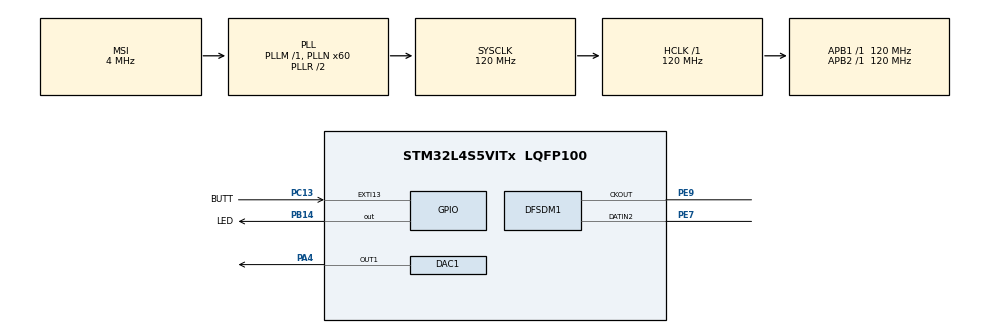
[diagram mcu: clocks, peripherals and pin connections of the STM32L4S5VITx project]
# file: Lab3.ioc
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DAC1.DAC_Trigger-DAC_OUT1=DAC_TRIGGER_T2_TRGO
DFSDM1.Divider=48
DFSDM1.DmaMode_reg_FIL0=ENABLE
DFSDM1.FastMode_reg_FIL0=ENABLE
DFSDM1.Filter_regChannel_FIL0=DFSDM_CHANNEL_2
DFSDM1.Fosr_FIL0=100
DFSDM1.SincOrder_FIL0=DFSDM_FILTER_SINC3_ORDER
Dma.DAC1_CH1.0.Direction=DMA_MEMORY_TO_PERIPH
Dma.DAC1_CH1.0.EventEnable=DISABLE
Dma.DAC1_CH1.0.Instance=DMA1_Channel1
Dma.DAC1_CH1.0.MemDataAlignment=DMA_MDATAALIGN_WORD
Dma.DAC1_CH1.0.MemInc=DMA_MINC_ENABLE
Dma.DAC1_CH1.0.Mode=DMA_CIRCULAR
Dma.DAC1_CH1.0.PeriphDataAlignment=DMA_PDATAALIGN_WORD
Dma.DAC1_CH1.0.PeriphInc=DMA_PINC_DISABLE
Dma.DAC1_CH1.0.Polarity=HAL_DMAMUX_REQUEST_GEN_RISING
Dma.DAC1_CH1.0.Priority=DMA_PRIORITY_HIGH
Dma.DAC1_CH1.0.RequestNumber=1
Dma.DAC1_CH1.0.SignalID=NONE
Dma.DAC1_CH1.0.SyncEnable=DISABLE
Dma.DAC1_CH1.0.SyncPolarity=HAL_DMAMUX_SYNC_NO_EVENT
Dma.DAC1_CH1.0.SyncRequestNumber=1
Dma.DAC1_CH1.0.SyncSignalID=NONE
Dma.DFSDM1_FLT0.1.Direction=DMA_PERIPH_TO_MEMORY
Dma.DFSDM1_FLT0.1.EventEnable=DISABLE
Dma.DFSDM1_FLT0.1.Instance=DMA1_Channel2
Dma.DFSDM1_FLT0.1.MemDataAlignment=DMA_MDATAALIGN_WORD
Dma.DFSDM1_FLT0.1.MemInc=DMA_MINC_ENABLE
Dma.DFSDM1_FLT0.1.Mode=DMA_NORMAL
Dma.DFSDM1_FLT0.1.PeriphDataAlignment=DMA_PDATAALIGN_WORD
Dma.DFSDM1_FLT0.1.PeriphInc=DMA_PINC_DISABLE
Dma.DFSDM1_FLT0.1.Polarity=HAL_DMAMUX_REQUEST_GEN_RISING
Dma.DFSDM1_FLT0.1.Priority=DMA_PRIORITY_LOW
Dma.DFSDM1_FLT0.1.RequestNumber=1
Dma.DFSDM1_FLT0.1.SignalID=NONE
Dma.DFSDM1_FLT0.1.SyncEnable=DISABLE
Dma.DFSDM1_FLT0.1.SyncPolarity=HAL_DMAMUX_SYNC_NO_EVENT
Dma.DFSDM1_FLT0.1.SyncRequestNumber=1
Dma.DFSDM1_FLT0.1.SyncSignalID=NONE
Dma.Request0=DAC1_CH1
Dma.Request1=DFSDM1_FLT0
Mcu.Family=STM32L4
Mcu.Name=STM32L4S5VITx
Mcu.Package=LQFP100
NVIC.DFSDM1_FLT0_IRQn=true\:0\:0\:false\:false\:true\:true\:true\:true
NVIC.DMA1_Channel1_IRQn=true\:0\:0\:false\:false\:true\:false\:true\:true
NVIC.DMA1_Channel2_IRQn=true\:0\:0\:false\:false\:true\:false\:true\:true
NVIC.EXTI15_10_IRQn=true\:0\:0\:false\:false\:true\:true\:true\:true
NVIC.PriorityGroup=NVIC_PRIORITYGROUP_4
NVIC.TIM2_IRQn=true\:0\:0\:false\:false\:true\:true\:true\:true
PA13\ (JTMS/SWDIO).Signal=SYS_JTMS-SWDIO
PA4.Signal=COMP_DAC11_group
PB14.GPIO_Label=LED
PB14.Signal=GPIO_Output
PB3\ (JTDO/TRACESWO).Signal=SYS_JTDO-SWO
PC13.GPIO_Label=BUTT
PC13.Signal=GPXTI13
PE7.Signal=S_DATAIN2DFSDM1
PE9.Signal=S_CKOUTDFSDM1
ProjectManager.HeapSize=0x200
ProjectManager.StackSize=0x400
ProjectManager.TargetToolchain=STM32CubeIDE
RCC.ADCFreq_Value=48000000
RCC.AHBFreq_Value=120000000
RCC.APB1Freq_Value=120000000
RCC.APB1TimFreq_Value=120000000
RCC.APB2Freq_Value=120000000
RCC.APB2TimFreq_Value=120000000
RCC.CortexFreq_Value=120000000
RCC.DFSDMCLockSelection=RCC_DFSDM1CLKSOURCE_SYSCLK
RCC.HCLKFreq_Value=120000000
RCC.HSE_VALUE=8000000
RCC.HSI48_VALUE=48000000
RCC.HSI_VALUE=16000000
RCC.LSE_VALUE=32768
RCC.MSI_VALUE=4000000
RCC.PLLN=60
RCC.PLLSAI1N=24
RCC.SYSCLKFreq_VALUE=120000000
RCC.SYSCLKSource=RCC_SYSCLKSOURCE_PLLCLK
RCC.USBFreq_Value=48000000
RCC.VCOOutputFreq_Value=240000000
SH.COMP_DAC11_group.0=DAC1_OUT1,DAC_OUT1
SH.S_CKOUTDFSDM1.0=DFSDM1_CKOUT,PDM_SPI_input_from_ch2_and_internal_clock
SH.S_CKOUTDFSDM1.1=DFSDM1_CKOUT,CKOUT
SH.S_DATAIN2DFSDM1.0=DFSDM1_DATIN2,PDM_SPI_input_from_ch2_and_internal_clock
TIM2.Period=4800
TIM2.TIM_MasterOutputTrigger=TIM_TRGO_UPDATE
VP_TIM2_VS_ClockSourceINT.Mode=Internal
board=B-L4S5I-IOT01A

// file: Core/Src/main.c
/* USER CODE BEGIN Header */
/**
  ******************************************************************************
  * @file           : main.c
  * @brief          : Main program body
  ******************************************************************************
  * @attention
  *
  * Copyright (c) 2023 STMicroelectronics.
  * All rights reserved.
  *
  * This software is licensed under terms that can be found in the LICENSE file
  * in the root directory of this software component.
  * If no LICENSE file comes with this software, it is provided AS-IS.
  *
  ******************************************************************************
  */
/* USER CODE END Header */
#include "main.h"

/* USER CODE BEGIN Includes */
#include <math.h>
/* USER CODE END Includes */

/* USER CODE BEGIN PD */
void play_Sounds();
/* USER CODE END PD */

DAC_HandleTypeDef hdac1;
DMA_HandleTypeDef hdma_dac1_ch1;

DFSDM_Filter_HandleTypeDef hdfsdm1_filter0;
DFSDM_Channel_HandleTypeDef hdfsdm1_channel2;
DMA_HandleTypeDef hdma_dfsdm1_flt0;

TIM_HandleTypeDef htim2;

/* USER CODE BEGIN PV */

float sound1[20];
float sound2[20];
float sound3[20];
float sound4[20];
float sound5[20];
float sound6[20];

int globalIndex;

#define AUDIO_REC 64000
#define WAIT_TIME 100

int32_t recBuf[AUDIO_REC];
uint32_t playBuf[AUDIO_REC];

uint8_t dmaRecBuffCplt = 0;
uint8_t isRecording = 0;
uint8_t hasPlayed = 0;

int32_t maxVal = -2147483648;
int32_t minVal = 2147483647;

//___________________________ PART 4 _____________________________
uint8_t counter = 0;
uint8_t playSong = 0;
uint8_t hasRecording = 0;

/* USER CODE END PV */

void SystemClock_Config(void);
static void MX_GPIO_Init(void);
static void MX_DMA_Init(void);
static void MX_DAC1_Init(void);
static void MX_TIM2_Init(void);
static void MX_DFSDM1_Init(void);

/* USER CODE BEGIN 0 */

/****
 * Interrupt function
 */
// PART 3 BUTTON PRESS INTERRUPT
//void HAL_GPIO_EXTI_Callback(uint16_t GPIO_Pin){
//	if(hasPlayed == 1){
//		HAL_DAC_Stop_DMA(&hdac1, DAC_CHANNEL_1);
//	}
//	HAL_DFSDM_FilterRegularStart_DMA(&hdfsdm1_filter0, recBuf, AUDIO_REC);
//	isRecording = 1;
//	hasPlayed = 1;
//}

// PART 1 TIMER INTERRUPT PLAYS THE NEXT SOUND
//void HAL_TIM_PeriodElapsedCallback(TIM_HandleTypeDef* htim){
//	HAL_DAC_SetValue(&hdac1, DAC_CHANNEL_1, DAC_ALIGN_12B_R, 0.7 * sound1[globalIndex]);
//
//	globalIndex++;
//	if (globalIndex == 20) globalIndex = 0;
//}

// PART 3 BUFFER IS FULL INTERRUPT
//void HAL_DFSDM_FilterRegConvCpltCallback(DFSDM_Filter_HandleTypeDef *hdfsdm_filter){
//	dmaRecBuffCplt = 1;
//	isRecording = 0;
//}

//______________________________________ PART 4 ______________________________________________

void HAL_GPIO_EXTI_Callback(uint16_t GPIO_Pin){
	if(counter % 2 == 0){
		if(counter > 1) HAL_DFSDM_FilterRegularStop_DMA(&hdfsdm1_filter0);
		HAL_DFSDM_FilterRegularStart_DMA(&hdfsdm1_filter0, recBuf, AUDIO_REC);
		isRecording = 1;
		hasRecording = 1;
	}

	else {
		playSong = 1;
	}
	counter++;
}

void HAL_DFSDM_FilterRegConvCpltCallback(DFSDM_Filter_HandleTypeDef *hdfsdm_filter){
	dmaRecBuffCplt = 1;
	isRecording = 0;
}

void make_Sounds(){
	float curVal = 0.0;
	float trigVal;
	for(int i = 0; i < 20; i++){
		trigVal = 2047.5 * sin(curVal) + 2047.5;
	  	sound1[i] = 0.8*trigVal;
	  	curVal += 0.314159;
	}

	curVal = 0.0;
	trigVal = 0.0;
	for(int i = 0; i < 18; i++){
		trigVal = 2047.5 * sin(curVal) + 2047.5;
		sound2[i] = 0.8*trigVal;
		curVal += 0.349065;
	}

	curVal = 0.0;
	trigVal = 0.0;
	for(int i = 0; i < 16; i++){
		trigVal = 2047.5 * sin(curVal) + 2047.5;
		sound3[i] = 0.8*trigVal;
		curVal += 0.392698;
	}

	curVal = 0.0;
	trigVal = 0.0;
	for(int i = 0; i < 14; i++){
		trigVal = 2047.5 * sin(curVal) + 2047.5;
		sound4[i] = 0.8*trigVal;
		curVal += 0.448798;
	}

	curVal = 0.0;
	trigVal = 0.0;
	for(int i = 0; i < 12; i++){
		trigVal = 2047.5 * sin(curVal) + 2047.5;
		sound5[i] = 0.8*trigVal;
		curVal += 0.523598;
	}

	curVal = 0.0;
	trigVal = 0.0;
	for(int i = 0; i < 10; i++){
		trigVal = 2047.5 * sin(curVal) + 2047.5;
		sound6[i] = trigVal;
		curVal += 0.628318;
	}
}

void play_Sounds(){
	HAL_DAC_Start_DMA(&hdac1, DAC_CHANNEL_1, &sound1, 20, DAC_ALIGN_12B_R);
	HAL_Delay(1000);
	HAL_DAC_Stop_DMA(&hdac1, DAC_CHANNEL_1);

	HAL_DAC_Start_DMA(&hdac1, DAC_CHANNEL_1, &sound2, 18, DAC_ALIGN_12B_R);
	HAL_Delay(1000);
	HAL_DAC_Stop_DMA(&hdac1, DAC_CHANNEL_1);

	HAL_DAC_Start_DMA(&hdac1, DAC_CHANNEL_1, &sound3, 16, DAC_ALIGN_12B_R);
	HAL_Delay(1000);
	HAL_DAC_Stop_DMA(&hdac1, DAC_CHANNEL_1);

	HAL_DAC_Start_DMA(&hdac1, DAC_CHANNEL_1, &sound4, 14, DAC_ALIGN_12B_R);
	HAL_Delay(1000);
	HAL_DAC_Stop_DMA(&hdac1, DAC_CHANNEL_1);

	HAL_DAC_Start_DMA(&hdac1, DAC_CHANNEL_1, &sound5, 12, DAC_ALIGN_12B_R);
	HAL_Delay(1000);
	HAL_DAC_Stop_DMA(&hdac1, DAC_CHANNEL_1);

	HAL_DAC_Start_DMA(&hdac1, DAC_CHANNEL_1, &sound6, 10, DAC_ALIGN_12B_R);
	HAL_Delay(1000);
	HAL_DAC_Stop_DMA(&hdac1, DAC_CHANNEL_1);
}

/* USER CODE END 0 */

int main(void)
{

  /* MCU Configuration--------------------------------------------------------*/

  /* Reset of all peripherals, Initializes the Flash interface and the Systick. */
  HAL_Init();

  /* Configure the system clock */
  SystemClock_Config();

  /* Initialize all configured peripherals */
  MX_GPIO_Init();
  MX_DMA_Init();
  MX_DAC1_Init();
  MX_TIM2_Init();
  MX_DFSDM1_Init();
  /* USER CODE BEGIN 2 */
  HAL_TIM_Base_Start_IT(&htim2);
  //HAL_DAC_Start_DMA(&hdac1, DAC_CHANNEL_1, &sound1, 20, DAC_ALIGN_12B_R);
  /* USER CODE END 2 */

  /* Infinite loop */
  /* USER CODE BEGIN WHILE */

  //Populate array, we are using an array of 10 slots, where each slot is incremented by 0.6283 radians

  //PART 2 CODE
//  float curVal = 0.0;
//  float trigVal;
//  for(int i = 0; i < 20; i++){
//	  trigVal = 2047.5 * sin(curVal);
//	  array[i] = trigVal;
//	  curVal += 0.314159;
//  }
//  HAL_TIM_Base_Start_IT(&htim2);
//  HAL_DAC_Start_DMA(&hdac1, DAC_CHANNEL_1, array, 20, DAC_ALIGN_12B_R);

  //_________________________________ PART 4 ____________________________
  make_Sounds();
  //play_Sounds();

  float temp;
  while (1)
  {

    /* USER CODE END WHILE */

    /* USER CODE BEGIN 3 */
	  if(isRecording == 1){
		  HAL_GPIO_TogglePin(LED_GPIO_Port, LED_Pin);
		  HAL_Delay(WAIT_TIME);
	  }
	  else if(hasRecording == 1){
		  HAL_GPIO_TogglePin(LED_GPIO_Port, LED_Pin);
		  HAL_Delay(WAIT_TIME*7);
	  }
	  else{
		  HAL_GPIO_WritePin(LED_GPIO_Port, LED_Pin, GPIO_PIN_RESET);
	  }

	  if((counter % 2 == 0) && (playSong == 1)) {
		  HAL_GPIO_WritePin(LED_GPIO_Port, LED_Pin, GPIO_PIN_SET);
	  		play_Sounds();
	  		HAL_DAC_Start_DMA(&hdac1, DAC_CHANNEL_1, playBuf, AUDIO_REC, DAC_ALIGN_12B_R);
	  		HAL_Delay(2560);
	  		HAL_DAC_Stop_DMA(&hdac1, DAC_CHANNEL_1);
	  		for(int i = 0; i < AUDIO_REC; i++){
	  			recBuf[i] = 0;
	  		}
	  		playSong = 0;
	  		hasRecording = 0;
	  }

	  if(dmaRecBuffCplt == 1){
		  for(int i = 0; i < AUDIO_REC; i++){

			  recBuf[i] = recBuf[i] >> 8;

			  if(recBuf[i] < minVal){
				  minVal = recBuf[i];
			  }
			  if(recBuf[i] > maxVal){
				  maxVal = recBuf[i];
			  }
		  }

		  if(minVal < 0) minVal = -1 * minVal;

		  temp = (float)((float)4095/((float)maxVal+(float)minVal));

		  for(int j = 0; j < AUDIO_REC; j++){
			  recBuf[j] = recBuf[j] + minVal;
			  playBuf[j] = temp * recBuf[j];

		  }

		  dmaRecBuffCplt = 0;
		  // PART 3 _________  HAL_DAC_Start_DMA(&hdac1, DAC_CHANNEL_1, &playBuf, AUDIO_REC, DAC_ALIGN_12B_R);
	  }
  }
  /* USER CODE END 3 */
}

void SystemClock_Config(void)
{
  RCC_OscInitTypeDef RCC_OscInitStruct = {0};
  RCC_ClkInitTypeDef RCC_ClkInitStruct = {0};

  /** Configure the main internal regulator output voltage
  */
  if (HAL_PWREx_ControlVoltageScaling(PWR_REGULATOR_VOLTAGE_SCALE1_BOOST) != HAL_OK)
  {
    Error_Handler();
  }

  /** Initializes the RCC Oscillators according to the specified parameters
  * in the RCC_OscInitTypeDef structure.
  */
  RCC_OscInitStruct.OscillatorType = RCC_OSCILLATORTYPE_MSI;
  RCC_OscInitStruct.MSIState = RCC_MSI_ON;
  RCC_OscInitStruct.MSICalibrationValue = 0;
  RCC_OscInitStruct.MSIClockRange = RCC_MSIRANGE_6;
  RCC_OscInitStruct.PLL.PLLState = RCC_PLL_ON;
  RCC_OscInitStruct.PLL.PLLSource = RCC_PLLSOURCE_MSI;
  RCC_OscInitStruct.PLL.PLLM = 1;
  RCC_OscInitStruct.PLL.PLLN = 60;
  RCC_OscInitStruct.PLL.PLLP = RCC_PLLP_DIV2;
  RCC_OscInitStruct.PLL.PLLQ = RCC_PLLQ_DIV2;
  RCC_OscInitStruct.PLL.PLLR = RCC_PLLR_DIV2;
  if (HAL_RCC_OscConfig(&RCC_OscInitStruct) != HAL_OK)
  {
    Error_Handler();
  }

  /** Initializes the CPU, AHB and APB buses clocks
  */
  RCC_ClkInitStruct.ClockType = RCC_CLOCKTYPE_HCLK|RCC_CLOCKTYPE_SYSCLK
                              |RCC_CLOCKTYPE_PCLK1|RCC_CLOCKTYPE_PCLK2;
  RCC_ClkInitStruct.SYSCLKSource = RCC_SYSCLKSOURCE_PLLCLK;
  RCC_ClkInitStruct.AHBCLKDivider = RCC_SYSCLK_DIV1;
  RCC_ClkInitStruct.APB1CLKDivider = RCC_HCLK_DIV1;
  RCC_ClkInitStruct.APB2CLKDivider = RCC_HCLK_DIV1;

  if (HAL_RCC_ClockConfig(&RCC_ClkInitStruct, FLASH_LATENCY_5) != HAL_OK)
  {
    Error_Handler();
  }
}

static void MX_DAC1_Init(void)
{

  DAC_ChannelConfTypeDef sConfig = {0};

  /** DAC Initialization
  */
  hdac1.Instance = DAC1;
  if (HAL_DAC_Init(&hdac1) != HAL_OK)
  {
    Error_Handler();
  }

  /** DAC channel OUT1 config
  */
  sConfig.DAC_SampleAndHold = DAC_SAMPLEANDHOLD_DISABLE;
  sConfig.DAC_Trigger = DAC_TRIGGER_T2_TRGO;
  sConfig.DAC_HighFrequency = DAC_HIGH_FREQUENCY_INTERFACE_MODE_ABOVE_80MHZ;
  sConfig.DAC_OutputBuffer = DAC_OUTPUTBUFFER_ENABLE;
  sConfig.DAC_ConnectOnChipPeripheral = DAC_CHIPCONNECT_DISABLE;
  sConfig.DAC_UserTrimming = DAC_TRIMMING_FACTORY;
  if (HAL_DAC_ConfigChannel(&hdac1, &sConfig, DAC_CHANNEL_1) != HAL_OK)
  {
    Error_Handler();
  }

}

static void MX_DFSDM1_Init(void)
{

  hdfsdm1_filter0.Instance = DFSDM1_Filter0;
  hdfsdm1_filter0.Init.RegularParam.Trigger = DFSDM_FILTER_SW_TRIGGER;
  hdfsdm1_filter0.Init.RegularParam.FastMode = ENABLE;
  hdfsdm1_filter0.Init.RegularParam.DmaMode = ENABLE;
  hdfsdm1_filter0.Init.FilterParam.SincOrder = DFSDM_FILTER_SINC3_ORDER;
  hdfsdm1_filter0.Init.FilterParam.Oversampling = 100;
  hdfsdm1_filter0.Init.FilterParam.IntOversampling = 1;
  if (HAL_DFSDM_FilterInit(&hdfsdm1_filter0) != HAL_OK)
  {
    Error_Handler();
  }
  hdfsdm1_channel2.Instance = DFSDM1_Channel2;
  hdfsdm1_channel2.Init.OutputClock.Activation = ENABLE;
  hdfsdm1_channel2.Init.OutputClock.Selection = DFSDM_CHANNEL_OUTPUT_CLOCK_SYSTEM;
  hdfsdm1_channel2.Init.OutputClock.Divider = 48;
  hdfsdm1_channel2.Init.Input.Multiplexer = DFSDM_CHANNEL_EXTERNAL_INPUTS;
  hdfsdm1_channel2.Init.Input.DataPacking = DFSDM_CHANNEL_STANDARD_MODE;
  hdfsdm1_channel2.Init.Input.Pins = DFSDM_CHANNEL_SAME_CHANNEL_PINS;
  hdfsdm1_channel2.Init.SerialInterface.Type = DFSDM_CHANNEL_SPI_RISING;
  hdfsdm1_channel2.Init.SerialInterface.SpiClock = DFSDM_CHANNEL_SPI_CLOCK_INTERNAL;
  hdfsdm1_channel2.Init.Awd.FilterOrder = DFSDM_CHANNEL_FASTSINC_ORDER;
  hdfsdm1_channel2.Init.Awd.Oversampling = 1;
  hdfsdm1_channel2.Init.Offset = 0;
  hdfsdm1_channel2.Init.RightBitShift = 0x00;
  if (HAL_DFSDM_ChannelInit(&hdfsdm1_channel2) != HAL_OK)
  {
    Error_Handler();
  }
  if (HAL_DFSDM_FilterConfigRegChannel(&hdfsdm1_filter0, DFSDM_CHANNEL_2, DFSDM_CONTINUOUS_CONV_ON) != HAL_OK)
  {
    Error_Handler();
  }

}

static void MX_TIM2_Init(void)
{

  TIM_ClockConfigTypeDef sClockSourceConfig = {0};
  TIM_MasterConfigTypeDef sMasterConfig = {0};

  htim2.Instance = TIM2;
  htim2.Init.Prescaler = 0;
  htim2.Init.CounterMode = TIM_COUNTERMODE_UP;
  htim2.Init.Period = 4800;
  htim2.Init.ClockDivision = TIM_CLOCKDIVISION_DIV1;
  htim2.Init.AutoReloadPreload = TIM_AUTORELOAD_PRELOAD_DISABLE;
  if (HAL_TIM_Base_Init(&htim2) != HAL_OK)
  {
    Error_Handler();
  }
  sClockSourceConfig.ClockSource = TIM_CLOCKSOURCE_INTERNAL;
  if (HAL_TIM_ConfigClockSource(&htim2, &sClockSourceConfig) != HAL_OK)
  {
    Error_Handler();
  }
  sMasterConfig.MasterOutputTrigger = TIM_TRGO_UPDATE;
  sMasterConfig.MasterSlaveMode = TIM_MASTERSLAVEMODE_DISABLE;
  if (HAL_TIMEx_MasterConfigSynchronization(&htim2, &sMasterConfig) != HAL_OK)
  {
    Error_Handler();
  }

}

static void MX_DMA_Init(void)
{

  /* DMA controller clock enable */
  __HAL_RCC_DMAMUX1_CLK_ENABLE();
  __HAL_RCC_DMA1_CLK_ENABLE();

  /* DMA interrupt init */
  /* DMA1_Channel1_IRQn interrupt configuration */
  HAL_NVIC_SetPriority(DMA1_Channel1_IRQn, 0, 0);
  HAL_NVIC_EnableIRQ(DMA1_Channel1_IRQn);
  /* DMA1_Channel2_IRQn interrupt configuration */
  HAL_NVIC_SetPriority(DMA1_Channel2_IRQn, 0, 0);
  HAL_NVIC_EnableIRQ(DMA1_Channel2_IRQn);

}

static void MX_GPIO_Init(void)
{
  GPIO_InitTypeDef GPIO_InitStruct = {0};

  /* GPIO Ports Clock Enable */
  __HAL_RCC_GPIOC_CLK_ENABLE();
  __HAL_RCC_GPIOA_CLK_ENABLE();
  __HAL_RCC_GPIOE_CLK_ENABLE();
  __HAL_RCC_GPIOB_CLK_ENABLE();

  /*Configure GPIO pin Output Level */
  HAL_GPIO_WritePin(LED_GPIO_Port, LED_Pin, GPIO_PIN_RESET);

  /*Configure GPIO pin : BUTT_Pin */
  GPIO_InitStruct.Pin = BUTT_Pin;
  GPIO_InitStruct.Mode = GPIO_MODE_IT_RISING;
  GPIO_InitStruct.Pull = GPIO_NOPULL;
  HAL_GPIO_Init(BUTT_GPIO_Port, &GPIO_InitStruct);

  /*Configure GPIO pin : LED_Pin */
  GPIO_InitStruct.Pin = LED_Pin;
  GPIO_InitStruct.Mode = GPIO_MODE_OUTPUT_PP;
  GPIO_InitStruct.Pull = GPIO_NOPULL;
  GPIO_InitStruct.Speed = GPIO_SPEED_FREQ_LOW;
  HAL_GPIO_Init(LED_GPIO_Port, &GPIO_InitStruct);

  /* EXTI interrupt init*/
  HAL_NVIC_SetPriority(EXTI15_10_IRQn, 0, 0);
  HAL_NVIC_EnableIRQ(EXTI15_10_IRQn);

}

void Error_Handler(void)
{
  __disable_irq();
  while (1)
  {
  }
}
